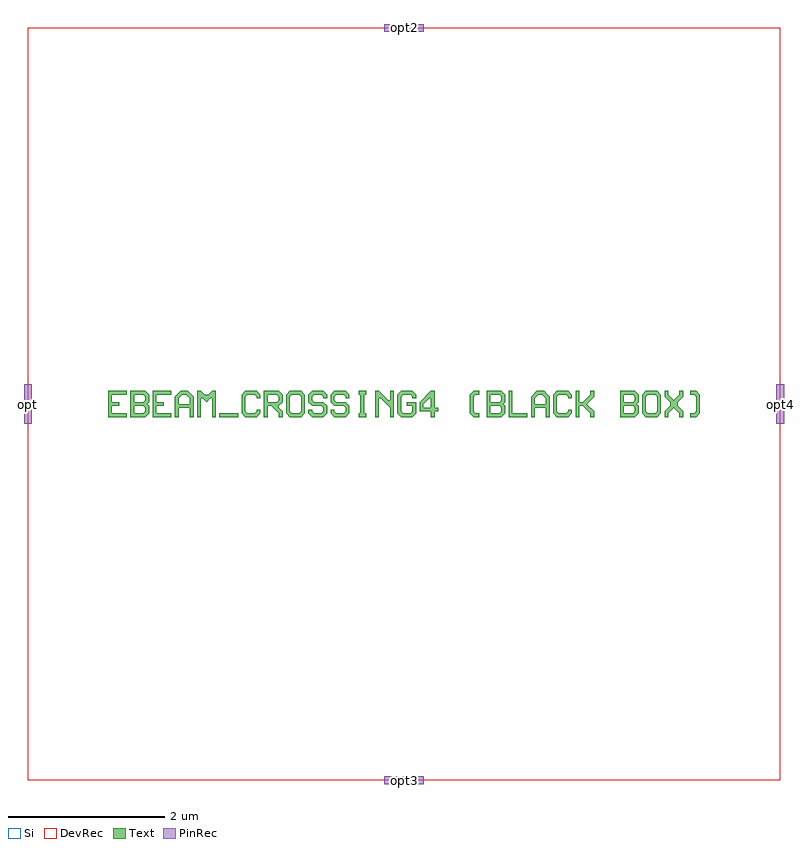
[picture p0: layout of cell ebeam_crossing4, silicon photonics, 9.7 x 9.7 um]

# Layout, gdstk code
import gdstk
lib = gdstk.Library(unit=1e-6, precision=1e-09)
def R(c, l, rs):  # rectangles x0, y0, x1, y1
    for r in rs: c.add(gdstk.rectangle(r[:2], r[2:], *l))
def P(c, l, *ps):  # polygons
    for p in ps: c.add(gdstk.Polygon(p, *l))
Si = (1, 0)
PinRec = (1, 10)
Text = (10, 0)
DevRec = (68, 0)

text = lib.new_cell('TEXT')
R(text, Text, [(1.42,0,1.657,0.047)])
P(text, Text, [(0,0),(0,0.332),(0.237,0.332),(0.237,0.284),(0.047,0.284),(0.047,0.19),(0.142,0.19),(0.142,0.142),(0.047,0.142),(0.047,0.047),(0.237,0.047),(0.237,0)],
  [(0.284,0),(0.284,0.332),(0.474,0.332),(0.521,0.284),(0.331,0.284),(0.331,0.19),(0.45,0.19),(0.474,0.213),(0.474,0.261),(0.45,0.284),(0.521,0.284),(0.521,0.19),(0.497,0.166),(0.521,0.142),(0.331,0.142),(0.331,0.047),(0.45,0.047),(0.474,0.071),(0.474,0.119),(0.45,0.142),(0.521,0.142),(0.521,0.047),(0.474,0)],
  [(0.568,0),(0.568,0.332),(0.805,0.332),(0.805,0.284),(0.615,0.284),(0.615,0.19),(0.71,0.19),(0.71,0.142),(0.615,0.142),(0.615,0.047),(0.805,0.047),(0.805,0)],
  [(0.852,0),(0.852,0.261),(0.923,0.332),(1.018,0.332),(1.065,0.284),(0.947,0.284),(0.899,0.237),(0.899,0.166),(1.042,0.166),(1.042,0.237),(0.994,0.284),(1.065,0.284),(1.089,0.261),(1.089,0),(1.042,0),(1.042,0.119),(0.899,0.119),(0.899,0)],
  [(1.136,0),(1.136,0.332),(1.183,0.332),(1.231,0.284),(1.278,0.284),(1.326,0.332),(1.373,0.332),(1.373,0),(1.326,0),(1.326,0.237),(1.302,0.237),(1.255,0.19),(1.207,0.237),(1.183,0.237),(1.183,0)],
  [(1.751,0),(1.704,0.047),(1.704,0.284),(1.751,0.332),(1.894,0.332),(1.941,0.284),(1.941,0.237),(1.894,0.237),(1.894,0.261),(1.87,0.284),(1.775,0.284),(1.751,0.261),(1.751,0.071),(1.775,0.047),(1.87,0.047),(1.894,0.071),(1.894,0.095),(1.941,0.095),(1.941,0.047),(1.894,0)],
  [(1.988,0),(1.988,0.332),(2.178,0.332),(2.225,0.284),(2.035,0.284),(2.035,0.19),(2.154,0.19),(2.178,0.213),(2.178,0.261),(2.154,0.284),(2.225,0.284),(2.225,0.19),(2.178,0.142),(2.178,0.119),(2.225,0.071),(2.225,0),(2.178,0),(2.178,0.047),(2.083,0.142),(2.035,0.142),(2.035,0)],
  [(2.319,0),(2.272,0.047),(2.272,0.284),(2.319,0.332),(2.462,0.332),(2.509,0.284),(2.509,0.166),(2.462,0.166),(2.462,0.261),(2.438,0.284),(2.343,0.284),(2.319,0.261),(2.319,0.071),(2.343,0.047),(2.438,0.047),(2.462,0.071),(2.462,0.166),(2.509,0.166),(2.509,0.047),(2.462,0)],
  [(2.603,0),(2.556,0.047),(2.556,0.095),(2.603,0.095),(2.603,0.071),(2.627,0.047),(2.722,0.047),(2.746,0.071),(2.746,0.119),(2.722,0.142),(2.603,0.142),(2.556,0.19),(2.556,0.284),(2.603,0.332),(2.746,0.332),(2.793,0.284),(2.793,0.237),(2.746,0.237),(2.746,0.261),(2.722,0.284),(2.627,0.284),(2.603,0.261),(2.603,0.213),(2.627,0.19),(2.746,0.19),(2.793,0.142),(2.793,0.047),(2.746,0)],
  [(2.887,0),(2.84,0.047),(2.84,0.095),(2.887,0.095),(2.887,0.071),(2.911,0.047),(3.006,0.047),(3.03,0.071),(3.03,0.119),(3.006,0.142),(2.887,0.142),(2.84,0.19),(2.84,0.284),(2.887,0.332),(3.03,0.332),(3.077,0.284),(3.077,0.237),(3.03,0.237),(3.03,0.261),(3.006,0.284),(2.911,0.284),(2.887,0.261),(2.887,0.213),(2.911,0.19),(3.03,0.19),(3.077,0.142),(3.077,0.047),(3.03,0)],
  [(3.195,0),(3.195,0.047),(3.219,0.047),(3.219,0.284),(3.195,0.284),(3.195,0.332),(3.29,0.332),(3.29,0.284),(3.266,0.284),(3.266,0.047),(3.29,0.047),(3.29,0)],
  [(3.408,0),(3.408,0.332),(3.455,0.332),(3.574,0.213),(3.598,0.213),(3.598,0.332),(3.645,0.332),(3.645,0),(3.598,0),(3.598,0.119),(3.479,0.237),(3.455,0.237),(3.455,0)],
  [(3.739,0),(3.692,0.047),(3.692,0.284),(3.739,0.332),(3.882,0.332),(3.929,0.284),(3.929,0.237),(3.882,0.237),(3.882,0.261),(3.858,0.284),(3.763,0.284),(3.739,0.261),(3.739,0.071),(3.763,0.047),(3.858,0.047),(3.882,0.071),(3.882,0.142),(3.811,0.142),(3.811,0.19),(3.929,0.19),(3.929,0.047),(3.882,0)],
  [(4.118,0),(4.118,0.071),(3.976,0.071),(3.976,0.119),(4.118,0.119),(4.118,0.237),(4.095,0.237),(4.023,0.166),(4.023,0.119),(3.976,0.119),(3.976,0.19),(4.118,0.332),(4.166,0.332),(4.166,0.119),(4.213,0.119),(4.213,0.071),(4.166,0.071),(4.166,0)],
  [(4.663,0),(4.615,0.047),(4.615,0.284),(4.663,0.332),(4.734,0.332),(4.734,0.284),(4.686,0.284),(4.663,0.261),(4.663,0.071),(4.686,0.047),(4.734,0.047),(4.734,0)],
  [(4.828,0),(4.828,0.332),(5.018,0.332),(5.065,0.284),(4.875,0.284),(4.875,0.19),(4.994,0.19),(5.018,0.213),(5.018,0.261),(4.994,0.284),(5.065,0.284),(5.065,0.19),(5.041,0.166),(5.065,0.142),(4.875,0.142),(4.875,0.047),(4.994,0.047),(5.018,0.071),(5.018,0.119),(4.994,0.142),(5.065,0.142),(5.065,0.047),(5.018,0)],
  [(5.112,0),(5.112,0.332),(5.159,0.332),(5.159,0.047),(5.349,0.047),(5.349,0)],
  [(5.396,0),(5.396,0.261),(5.467,0.332),(5.562,0.332),(5.609,0.284),(5.491,0.284),(5.443,0.237),(5.443,0.166),(5.586,0.166),(5.586,0.237),(5.538,0.284),(5.609,0.284),(5.633,0.261),(5.633,0),(5.586,0),(5.586,0.119),(5.443,0.119),(5.443,0)],
  [(5.727,0),(5.68,0.047),(5.68,0.284),(5.727,0.332),(5.87,0.332),(5.917,0.284),(5.917,0.237),(5.87,0.237),(5.87,0.261),(5.846,0.284),(5.751,0.284),(5.727,0.261),(5.727,0.071),(5.751,0.047),(5.846,0.047),(5.87,0.071),(5.87,0.095),(5.917,0.095),(5.917,0.047),(5.87,0)],
  [(5.964,0),(5.964,0.332),(6.011,0.332),(6.011,0.19),(6.059,0.19),(6.154,0.284),(6.154,0.332),(6.201,0.332),(6.201,0.261),(6.106,0.166),(6.201,0.071),(6.201,0),(6.154,0),(6.154,0.047),(6.059,0.142),(6.011,0.142),(6.011,0)],
  [(6.532,0),(6.532,0.332),(6.722,0.332),(6.769,0.284),(6.579,0.284),(6.579,0.19),(6.698,0.19),(6.722,0.213),(6.722,0.261),(6.698,0.284),(6.769,0.284),(6.769,0.19),(6.745,0.166),(6.769,0.142),(6.579,0.142),(6.579,0.047),(6.698,0.047),(6.722,0.071),(6.722,0.119),(6.698,0.142),(6.769,0.142),(6.769,0.047),(6.722,0)],
  [(6.863,0),(6.816,0.047),(6.816,0.284),(6.863,0.332),(7.006,0.332),(7.053,0.284),(7.053,0.166),(7.006,0.166),(7.006,0.261),(6.982,0.284),(6.887,0.284),(6.863,0.261),(6.863,0.071),(6.887,0.047),(6.982,0.047),(7.006,0.071),(7.006,0.166),(7.053,0.166),(7.053,0.047),(7.006,0)],
  [(7.1,0),(7.1,0.071),(7.171,0.142),(7.171,0.19),(7.1,0.261),(7.1,0.332),(7.147,0.332),(7.147,0.284),(7.219,0.213),(7.29,0.284),(7.29,0.332),(7.337,0.332),(7.337,0.261),(7.266,0.19),(7.266,0.142),(7.337,0.071),(7.337,0),(7.29,0),(7.29,0.047),(7.219,0.119),(7.147,0.047),(7.147,0)],
  [(7.431,0),(7.431,0.047),(7.479,0.047),(7.503,0.071),(7.503,0.261),(7.479,0.284),(7.431,0.284),(7.431,0.332),(7.503,0.332),(7.55,0.284),(7.55,0.047),(7.503,0)])

ebeam_crossing4 = lib.new_cell('ebeam_crossing4')
R(ebeam_crossing4, Si, [(-4.8,-4.8,4.8,4.8)])
R(ebeam_crossing4, DevRec, [(-4.8,-4.8,4.8,4.8)])
ebeam_crossing4.add(gdstk.FlexPath([(-4.75,0),(-4.85,0)], 0.5, ends="flush", simple_path=True, layer=1, datatype=10))  # PinRec
ebeam_crossing4.add(gdstk.FlexPath([(4.75,0),(4.85,0)], 0.5, ends="flush", simple_path=True, layer=1, datatype=10))  # PinRec
ebeam_crossing4.add(gdstk.FlexPath([(0,-4.75),(0,-4.85)], 0.5, ends="flush", simple_path=True, layer=1, datatype=10))  # PinRec
ebeam_crossing4.add(gdstk.FlexPath([(0,4.75),(0,4.85)], 0.5, ends="flush", simple_path=True, layer=1, datatype=10))  # PinRec
ebeam_crossing4.add(gdstk.Reference(text, (-3.775,-0.166)))
ebeam_crossing4.add(gdstk.Label('opt4', (4.8,0), layer=1, texttype=10))
ebeam_crossing4.add(gdstk.Label('opt2', (0,4.8), layer=1, texttype=10))
ebeam_crossing4.add(gdstk.Label('opt', (-4.8,0), layer=1, texttype=10))
ebeam_crossing4.add(gdstk.Label('opt3', (0,-4.8), layer=1, texttype=10))

lib.write_gds('ebeam_crossing4.gds')
